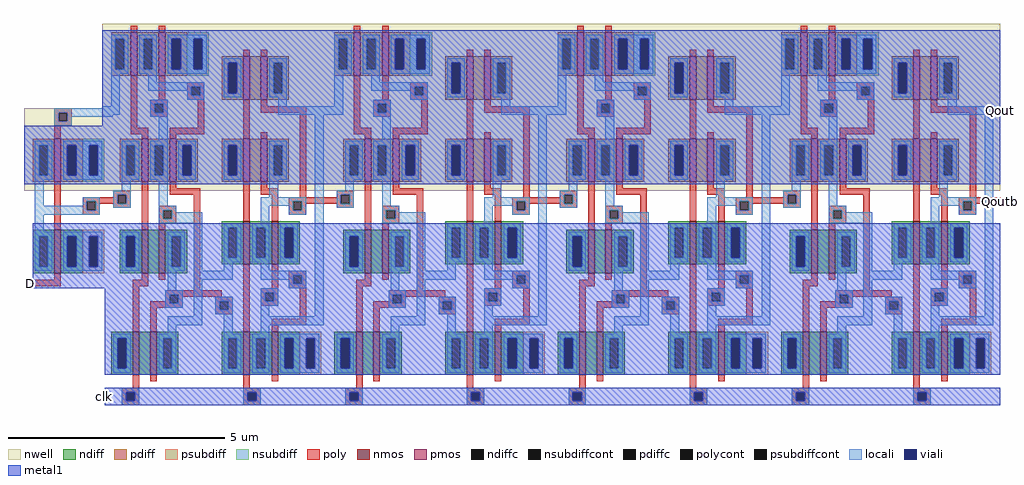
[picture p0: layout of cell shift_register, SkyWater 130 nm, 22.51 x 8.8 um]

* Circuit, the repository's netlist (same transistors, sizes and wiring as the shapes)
* SPICE3 file created from shift_register.ext - technology: sky130A

.subckt dflipflop_rising_2 clk VN Db Qb VP a_500_n20# a_n140_1360#
X0 VP a_30_870# a_n20_1360# VP sky130_fd_pr__pfet_01v8 ad=2e+12p pd=1.2e+07u as=5e+11p ps=3e+06u w=1e+06u l=150000u
X1 a_30_450# clk VN VN sky130_fd_pr__nfet_01v8 ad=2.5e+11p pd=2.5e+06u as=2e+12p ps=1.2e+07u w=1e+06u l=150000u
X2 a_500_n20# Qb a_500_1250# VP sky130_fd_pr__pfet_01v8 ad=5e+11p pd=3e+06u as=2.5e+11p ps=2.5e+06u w=1e+06u l=150000u
X3 VN Qb a_500_n20# VN sky130_fd_pr__nfet_01v8 ad=0p pd=0u as=5e+11p ps=3e+06u w=1e+06u l=150000u
X4 a_n20_1360# clk a_n140_1360# VP sky130_fd_pr__pfet_01v8 ad=0p pd=0u as=4.5e+11p ps=2.9e+06u w=1e+06u l=150000u
X5 VP a_n20_1360# a_30_870# VP sky130_fd_pr__pfet_01v8 ad=0p pd=0u as=5e+11p ps=3e+06u w=1e+06u l=150000u
X6 a_500_n20# clk a_n20_1360# VN sky130_fd_pr__nfet_01v8 ad=0p pd=0u as=1e+12p ps=6e+06u w=1e+06u l=150000u
X7 a_30_870# a_n20_1360# a_n10_n20# VN sky130_fd_pr__nfet_01v8 ad=1e+12p pd=6e+06u as=2.5e+11p ps=2.5e+06u w=1e+06u l=150000u
X8 a_n10_n20# clk VN VN sky130_fd_pr__nfet_01v8 ad=0p pd=0u as=0p ps=0u w=1e+06u l=150000u
X9 Qb a_500_n20# a_500_870# VP sky130_fd_pr__pfet_01v8 ad=5e+11p pd=3e+06u as=2.5e+11p ps=2.5e+06u w=1e+06u l=150000u
X10 a_500_1250# clk VP VP sky130_fd_pr__pfet_01v8 ad=0p pd=0u as=0p ps=0u w=1e+06u l=150000u
X11 VN a_500_n20# Qb VN sky130_fd_pr__nfet_01v8 ad=0p pd=0u as=5e+11p ps=3e+06u w=1e+06u l=150000u
X12 a_n20_1360# a_30_870# a_30_450# VN sky130_fd_pr__nfet_01v8 ad=0p pd=0u as=0p ps=0u w=1e+06u l=150000u
X13 a_500_870# clk VP VP sky130_fd_pr__pfet_01v8 ad=0p pd=0u as=0p ps=0u w=1e+06u l=150000u
X14 a_30_870# clk Db VP sky130_fd_pr__pfet_01v8 ad=0p pd=0u as=5e+11p ps=3e+06u w=1e+06u l=150000u
X15 Qb clk a_30_870# VN sky130_fd_pr__nfet_01v8 ad=0p pd=0u as=0p ps=0u w=1e+06u l=150000u
.ends

.subckt inverter_sreg A Y VN VP
X0 VP A Y VP sky130_fd_pr__pfet_01v8 ad=5e+11p pd=3e+06u as=5e+11p ps=3e+06u w=1e+06u l=150000u
X1 VN A Y VN sky130_fd_pr__nfet_01v8 ad=5e+11p pd=3e+06u as=5e+11p ps=3e+06u w=1e+06u l=150000u
.ends

*.subckt shift_register D clk Qout Qoutb
Xdflipflop_rising_2_0 clk VSUBS inverter_sreg_0/Y dflipflop_rising_2_1/Db inverter_sreg_0/VP
+ dflipflop_rising_2_0/a_500_n20# D dflipflop_rising_2
Xdflipflop_rising_2_1 clk VSUBS dflipflop_rising_2_1/Db dflipflop_rising_2_2/Db inverter_sreg_0/VP
+ dflipflop_rising_2_1/a_500_n20# dflipflop_rising_2_0/a_500_n20# dflipflop_rising_2
Xdflipflop_rising_2_2 clk VSUBS dflipflop_rising_2_2/Db dflipflop_rising_2_3/Db inverter_sreg_0/VP
+ dflipflop_rising_2_2/a_500_n20# dflipflop_rising_2_1/a_500_n20# dflipflop_rising_2
Xdflipflop_rising_2_3 clk VSUBS dflipflop_rising_2_3/Db Qoutb inverter_sreg_0/VP Qout
+ dflipflop_rising_2_2/a_500_n20# dflipflop_rising_2
Xinverter_sreg_0 D inverter_sreg_0/Y VSUBS inverter_sreg_0/VP inverter_sreg
*.ends

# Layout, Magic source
magic
tech sky130A
<< poly >>
rect 2030 90 2040 105
rect -195 -100 -185 -85
<< locali >>
rect 2030 295 2040 315
<< metal1 >>
rect -25 -375 -15 -335
use dflipflop_rising_2  dflipflop_rising_2_3 ~/Documents/Miniproject2
transform 1 0 1605 0 1 -295
box -90 -80 435 800
use dflipflop_rising_2  dflipflop_rising_2_2
transform 1 0 1090 0 1 -295
box -90 -80 435 800
use dflipflop_rising_2  dflipflop_rising_2_1
transform 1 0 575 0 1 -295
box -90 -80 435 800
use dflipflop_rising_2  dflipflop_rising_2_0
transform 1 0 60 0 1 -295
box -90 -80 435 800
use inverter_sreg  inverter_sreg_0
transform 1 0 -191 0 1 -70
box -20 -35 185 380
<< labels >>
rlabel poly -195 -95 -195 -95 7 D
port 1 w
rlabel metal1 -25 -355 -25 -355 7 clk
port 2 w
rlabel locali 2040 305 2040 305 3 Qout
port 3 e
rlabel poly 2040 95 2040 95 3 Qoutb
port 4 e
<< end >>

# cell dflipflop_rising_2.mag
magic
tech sky130A
<< nwell >>
rect -90 415 435 800
<< nmos >>
rect 0 225 15 325
rect 40 225 55 325
rect 235 245 250 345
rect 300 245 315 345
rect -20 -10 -5 90
rect 20 -10 35 90
rect 235 -10 250 90
rect 300 -10 315 90
<< pmos >>
rect -25 680 -10 780
rect 40 680 55 780
rect 235 625 250 725
rect 275 625 290 725
rect 0 435 15 535
rect 65 435 80 535
rect 235 435 250 535
rect 275 435 290 535
<< ndiff >>
rect -50 310 0 325
rect -50 240 -35 310
rect -15 240 0 310
rect -50 225 0 240
rect 15 225 40 325
rect 55 310 105 325
rect 55 240 70 310
rect 90 240 105 310
rect 55 225 105 240
rect 185 330 235 345
rect 185 260 200 330
rect 220 260 235 330
rect 185 245 235 260
rect 250 330 300 345
rect 250 260 265 330
rect 285 260 300 330
rect 250 245 300 260
rect 315 330 365 345
rect 315 260 330 330
rect 350 260 365 330
rect 315 245 365 260
rect -70 75 -20 90
rect -70 5 -55 75
rect -35 5 -20 75
rect -70 -10 -20 5
rect -5 -10 20 90
rect 35 75 85 90
rect 35 5 50 75
rect 70 5 85 75
rect 35 -10 85 5
rect 185 75 235 90
rect 185 5 200 75
rect 220 5 235 75
rect 185 -10 235 5
rect 250 75 300 90
rect 250 5 265 75
rect 285 5 300 75
rect 250 -10 300 5
rect 315 75 365 90
rect 315 5 330 75
rect 350 5 365 75
rect 315 -10 365 5
<< pdiff >>
rect -70 765 -25 780
rect -70 695 -60 765
rect -40 695 -25 765
rect -70 680 -25 695
rect -10 765 40 780
rect -10 695 5 765
rect 25 695 40 765
rect -10 680 40 695
rect 55 765 105 780
rect 55 695 70 765
rect 90 695 105 765
rect 55 680 105 695
rect 185 710 235 725
rect 185 640 200 710
rect 220 640 235 710
rect 185 625 235 640
rect 250 625 275 725
rect 290 710 340 725
rect 290 640 305 710
rect 325 640 340 710
rect 290 625 340 640
rect -50 520 0 535
rect -50 450 -35 520
rect -15 450 0 520
rect -50 435 0 450
rect 15 520 65 535
rect 15 450 30 520
rect 50 450 65 520
rect 15 435 65 450
rect 80 520 130 535
rect 80 450 95 520
rect 115 450 130 520
rect 80 435 130 450
rect 185 520 235 535
rect 185 450 200 520
rect 220 450 235 520
rect 185 435 235 450
rect 250 435 275 535
rect 290 520 340 535
rect 290 450 305 520
rect 325 450 340 520
rect 290 435 340 450
<< ndiffc >>
rect -35 240 -15 310
rect 70 240 90 310
rect 200 260 220 330
rect 265 260 285 330
rect 330 260 350 330
rect -55 5 -35 75
rect 50 5 70 75
rect 200 5 220 75
rect 265 5 285 75
rect 330 5 350 75
<< pdiffc >>
rect -60 695 -40 765
rect 5 695 25 765
rect 70 695 90 765
rect 200 640 220 710
rect 305 640 325 710
rect -35 450 -15 520
rect 30 450 50 520
rect 95 450 115 520
rect 200 450 220 520
rect 305 450 325 520
<< psubdiff >>
rect 365 75 415 90
rect 365 5 380 75
rect 400 5 415 75
rect 365 -10 415 5
<< nsubdiff >>
rect 105 765 155 780
rect 105 695 120 765
rect 140 695 155 765
rect 105 680 155 695
<< psubdiffcont >>
rect 380 5 400 75
<< nsubdiffcont >>
rect 120 695 140 765
<< poly >>
rect -25 780 -10 795
rect 40 780 55 795
rect 235 725 250 740
rect 275 725 290 740
rect -25 560 -10 680
rect 40 625 55 680
rect 105 655 145 665
rect 105 635 115 655
rect 135 635 145 655
rect 105 625 145 635
rect 20 615 60 625
rect 20 595 30 615
rect 50 595 60 615
rect 20 585 60 595
rect 130 560 145 625
rect -25 545 15 560
rect 0 535 15 545
rect 65 545 145 560
rect 65 535 80 545
rect 235 535 250 625
rect 275 610 290 625
rect 275 595 380 610
rect 275 535 290 550
rect -65 405 -25 415
rect -65 400 -55 405
rect -85 385 -55 400
rect -35 385 -25 405
rect -65 375 -25 385
rect 0 325 15 435
rect 65 420 80 435
rect 65 405 135 420
rect 40 370 80 380
rect 40 350 50 370
rect 70 350 80 370
rect 40 340 80 350
rect 40 325 55 340
rect 0 210 15 225
rect 40 210 55 225
rect -20 195 15 210
rect -20 90 -5 195
rect 120 185 135 405
rect 235 345 250 435
rect 275 420 290 435
rect 275 405 315 420
rect 300 345 315 405
rect 365 400 380 595
rect 340 390 435 400
rect 340 370 350 390
rect 370 385 435 390
rect 370 370 380 385
rect 340 360 380 370
rect 55 175 185 185
rect 55 160 65 175
rect 20 155 65 160
rect 85 170 185 175
rect 85 155 95 170
rect 20 145 95 155
rect 170 160 210 170
rect 20 90 35 145
rect 170 140 180 160
rect 200 140 210 160
rect 170 130 210 140
rect 235 90 250 245
rect 300 190 315 245
rect 340 220 380 230
rect 340 200 350 220
rect 370 200 380 220
rect 340 190 380 200
rect 275 180 315 190
rect 275 160 285 180
rect 305 160 315 180
rect 275 150 315 160
rect 365 120 380 190
rect 300 105 380 120
rect 300 90 315 105
rect -20 -40 -5 -10
rect 20 -25 35 -10
rect -45 -50 -5 -40
rect -45 -70 -35 -50
rect -15 -70 -5 -50
rect -45 -80 -5 -70
rect 235 -40 250 -10
rect 300 -25 315 -10
rect 235 -50 275 -40
rect 235 -70 245 -50
rect 265 -70 275 -50
rect 235 -80 275 -70
<< polycont >>
rect 115 635 135 655
rect 30 595 50 615
rect -55 385 -35 405
rect 50 350 70 370
rect 350 370 370 390
rect 65 155 85 175
rect 180 140 200 160
rect 350 200 370 220
rect 285 160 305 180
rect -35 -70 -15 -50
rect 245 -70 265 -50
<< locali >>
rect -70 765 -30 775
rect -70 695 -60 765
rect -40 695 -30 765
rect -70 685 -30 695
rect -5 765 35 775
rect -5 695 5 765
rect 25 695 35 765
rect -5 685 35 695
rect 60 765 150 775
rect 60 695 70 765
rect 90 695 120 765
rect 140 695 150 765
rect 60 685 150 695
rect 190 710 230 720
rect -70 610 -50 685
rect 15 665 35 685
rect 15 655 145 665
rect 15 645 115 655
rect 105 635 115 645
rect 135 635 145 655
rect 105 625 145 635
rect 190 640 200 710
rect 220 640 230 710
rect 190 630 230 640
rect 295 710 335 720
rect 295 640 305 710
rect 325 640 335 710
rect 295 630 335 640
rect -90 590 -50 610
rect 20 615 60 625
rect 20 595 30 615
rect 50 595 60 615
rect 20 585 60 595
rect 315 610 335 630
rect 315 590 435 610
rect 40 530 60 585
rect -45 520 -5 530
rect -45 450 -35 520
rect -15 450 -5 520
rect -45 440 -5 450
rect 20 520 60 530
rect 20 450 30 520
rect 50 450 60 520
rect 20 440 60 450
rect 85 520 125 530
rect 85 450 95 520
rect 115 450 125 520
rect 85 440 125 450
rect 190 520 230 530
rect 190 450 200 520
rect 220 450 230 520
rect 190 440 230 450
rect 295 520 335 530
rect 295 450 305 520
rect 325 450 335 520
rect 295 440 335 450
rect -45 415 -25 440
rect -65 405 -25 415
rect -65 385 -55 405
rect -35 385 -25 405
rect -65 375 -25 385
rect 40 380 60 440
rect 295 400 315 440
rect 275 390 380 400
rect 275 380 350 390
rect 40 370 80 380
rect 40 350 50 370
rect 70 365 80 370
rect 70 350 140 365
rect 40 340 140 350
rect 275 340 295 380
rect 340 370 350 380
rect 370 370 380 390
rect 340 360 380 370
rect -45 310 -5 320
rect -45 240 -35 310
rect -15 240 -5 310
rect -45 230 -5 240
rect 60 310 100 320
rect 60 240 70 310
rect 90 240 100 310
rect 60 230 100 240
rect 120 230 140 340
rect 190 330 230 340
rect 190 260 200 330
rect 220 260 230 330
rect 190 250 230 260
rect 255 330 295 340
rect 255 260 265 330
rect 285 260 295 330
rect 255 250 295 260
rect 320 330 360 340
rect 320 260 330 330
rect 350 260 360 330
rect 320 250 360 260
rect 190 230 210 250
rect 60 185 80 230
rect 120 210 210 230
rect 275 230 295 250
rect 275 220 380 230
rect 275 210 350 220
rect 55 175 95 185
rect 55 155 65 175
rect 85 155 95 175
rect 55 145 95 155
rect 120 125 140 210
rect 340 200 350 210
rect 370 200 380 220
rect 340 190 380 200
rect 275 180 315 190
rect 170 160 210 170
rect 170 140 180 160
rect 200 140 210 160
rect 170 130 210 140
rect 60 105 140 125
rect 60 85 80 105
rect -65 75 -25 85
rect -65 5 -55 75
rect -35 5 -25 75
rect -65 -5 -25 5
rect 40 75 80 85
rect 40 5 50 75
rect 70 5 80 75
rect 40 -5 80 5
rect 190 85 210 130
rect 275 160 285 180
rect 305 160 315 180
rect 275 150 315 160
rect 275 125 295 150
rect 400 125 420 590
rect 275 105 420 125
rect 275 85 295 105
rect 190 75 230 85
rect 190 5 200 75
rect 220 5 230 75
rect 190 -5 230 5
rect 255 75 295 85
rect 255 5 265 75
rect 285 5 295 75
rect 255 -5 295 5
rect 320 75 410 85
rect 320 5 330 75
rect 350 5 380 75
rect 400 5 410 75
rect 320 -5 410 5
rect -45 -50 -5 -40
rect -45 -70 -35 -50
rect -15 -70 -5 -50
rect -45 -80 -5 -70
rect 235 -50 275 -40
rect 235 -70 245 -50
rect 265 -70 275 -50
rect 235 -80 275 -70
<< viali >>
rect 70 695 90 765
rect 120 695 140 765
rect 200 640 220 710
rect 95 450 115 520
rect 200 450 220 520
rect -35 240 -15 310
rect 330 260 350 330
rect -55 5 -35 75
rect 330 5 350 75
rect 380 5 400 75
rect -35 -70 -15 -50
rect 245 -70 265 -50
<< metal1 >>
rect -90 765 435 785
rect -90 695 70 765
rect 90 695 120 765
rect 140 710 435 765
rect 140 695 200 710
rect -90 640 200 695
rect 220 640 435 710
rect -90 520 435 640
rect -90 450 95 520
rect 115 450 200 520
rect 220 450 435 520
rect -90 430 435 450
rect -85 330 435 340
rect -85 310 330 330
rect -85 240 -35 310
rect -15 260 330 310
rect 350 260 435 330
rect -15 240 435 260
rect -85 75 435 240
rect -85 5 -55 75
rect -35 5 330 75
rect 350 5 380 75
rect 400 5 435 75
rect -85 -10 435 5
rect -85 -50 435 -40
rect -85 -70 -35 -50
rect -15 -70 245 -50
rect 265 -70 435 -50
rect -85 -80 435 -70
<< labels >>
rlabel metal1 -85 -60 -85 -60 7 clk
port 1 w
rlabel metal1 -85 180 -85 180 7 VN
port 2 w
rlabel poly 435 390 435 390 3 Qb
port 7 e
rlabel poly -85 390 -85 390 7 Db
port 3 w
rlabel metal1 -90 720 -90 720 7 VP
port 8 w
<< end >>

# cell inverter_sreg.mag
magic
tech sky130A
<< nwell >>
rect -20 190 185 380
<< nmos >>
rect 50 0 65 100
<< pmos >>
rect 50 210 65 310
<< ndiff >>
rect 0 85 50 100
rect 0 15 15 85
rect 35 15 50 85
rect 0 0 50 15
rect 65 85 115 100
rect 65 15 80 85
rect 100 15 115 85
rect 65 0 115 15
<< pdiff >>
rect 0 295 50 310
rect 0 225 15 295
rect 35 225 50 295
rect 0 210 50 225
rect 65 295 115 310
rect 65 225 80 295
rect 100 225 115 295
rect 65 210 115 225
<< ndiffc >>
rect 15 15 35 85
rect 80 15 100 85
<< pdiffc >>
rect 15 225 35 295
rect 80 225 100 295
<< psubdiff >>
rect 115 85 165 100
rect 115 15 130 85
rect 150 15 165 85
rect 115 0 165 15
<< nsubdiff >>
rect 115 295 165 310
rect 115 225 130 295
rect 150 225 165 295
rect 115 210 165 225
<< psubdiffcont >>
rect 130 15 150 85
<< nsubdiffcont >>
rect 130 225 150 295
<< poly >>
rect 50 370 90 380
rect 50 350 60 370
rect 80 350 90 370
rect 50 340 90 350
rect 50 310 65 340
rect 50 100 65 210
rect 115 165 175 175
rect 115 145 125 165
rect 145 160 175 165
rect 145 145 155 160
rect 115 135 155 145
rect 50 -15 65 0
rect 0 -30 65 -15
<< polycont >>
rect 60 350 80 370
rect 125 145 145 165
<< locali >>
rect 50 370 185 380
rect 50 350 60 370
rect 80 360 185 370
rect 80 350 90 360
rect 50 340 90 350
rect 5 295 45 305
rect 5 225 15 295
rect 35 225 45 295
rect 5 215 45 225
rect 70 295 160 305
rect 70 225 80 295
rect 100 225 130 295
rect 150 225 160 295
rect 70 215 160 225
rect 5 155 25 215
rect 115 165 155 175
rect 115 155 125 165
rect 5 145 125 155
rect 145 145 155 165
rect 5 135 155 145
rect 5 95 25 135
rect 5 85 45 95
rect 5 15 15 85
rect 35 15 45 85
rect 5 5 45 15
rect 70 85 160 95
rect 70 15 80 85
rect 100 15 130 85
rect 150 15 160 85
rect 70 5 160 15
<< viali >>
rect 80 225 100 295
rect 130 225 150 295
rect 80 15 100 85
rect 130 15 150 85
<< metal1 >>
rect -20 295 185 340
rect -20 225 80 295
rect 100 225 130 295
rect 150 225 185 295
rect -20 205 185 225
rect 0 85 175 115
rect 0 15 80 85
rect 100 15 130 85
rect 150 15 175 85
rect 0 -35 175 15
<< labels >>
rlabel poly 0 -25 0 -25 7 A
port 1 w
rlabel poly 165 165 165 165 3 Y
port 2 e
rlabel metal1 0 -10 0 -10 7 VN
port 3 w
rlabel metal1 -20 235 -20 235 7 VP
port 4 w
<< end >>
